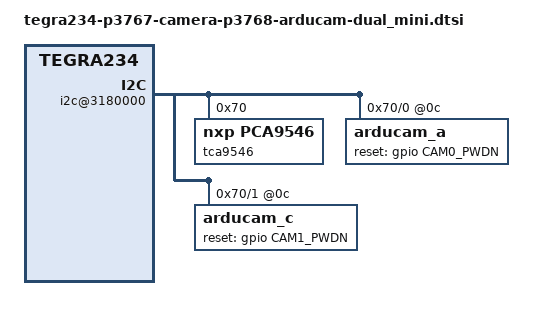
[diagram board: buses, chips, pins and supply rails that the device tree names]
/*
 * Copyright (c) 2018-2020, NVIDIA CORPORATION.  All rights reserved.
 *
 * This program is free software; you can redistribute it and/or modify
 * it under the terms of the GNU General Public License as published by
 * the Free Software Foundation; either version 2 of the License, or
 * (at your option) any later version.
 *
 * This program is distributed in the hope that it will be useful, but WITHOUT
 * ANY WARRANTY; without even the implied warranty of MERCHANTABILITY or
 * FITNESS FOR A PARTICULAR PURPOSE.  See the GNU General Public License for
 * more details.
 *
 * You should have received a copy of the GNU General Public License
 * along with this program.  If not, see <http://www.gnu.org/licenses/>.
 */

#define CAM0_PWDN	TEGRA234_MAIN_GPIO(H, 6)
#define CAM1_PWDN	TEGRA234_MAIN_GPIO(AC, 0)
#define CAMERA_I2C_MUX_BUS(x) (0x1E + x)

#include <dt-bindings/tegra234-p3767-0000-common.h>
#include "tegra234-p3767-camera-p3768-arducam-dual.dtsi"

/ {
	overlay-name = "Camera ARDUCAM Dual";
	jetson-header-name = "Jetson 24pin CSI Connector";
	compatible = JETSON_COMPATIBLE_P3768;

	fragment@0 {
		target-path = "/";
		__overlay__ {
			bus@0 {
				i2c@3180000 {
					tca9546@70 {
                        compatible = "nxp,pca9546";
						reg = <0x70>;
                        i2c-parent = <&cam_i2c>;
						skip_mux_detect = "yes";
						status = "okay";
						force_bus_start = <CAMERA_I2C_MUX_BUS(0)>;
                        i2c@0 {
                            status = "okay";
                            reg = <0>;
							i2c-mux,deselect-on-exit;
                            rbpcv2_imx219_a@10 {
                                status = "disabled";
                            };
                            arducam_a@0c {
                                status = "okay";
                                reset-gpios = <&gpio CAM0_PWDN GPIO_ACTIVE_HIGH>;
                            };
                        };
                        i2c@1 {
                            status = "okay";
                            reg = <1>;
							i2c-mux,deselect-on-exit;
                            rbpcv2_imx219_c@10 {
                                status = "disabled";
                            };
                            arducam_c@0c {
								status = "okay";
                                reset-gpios = <&gpio CAM1_PWDN GPIO_ACTIVE_HIGH>;
                            };
                        };
                    };
				};
				gpio@2200000 {
					camera-control-output-low {
						gpios = <CAM0_PWDN 0  CAM1_PWDN 0>;
						label = "cam0-pwdn", "cam1-pwdn";
					};
				};
			};
		};
	};
};
